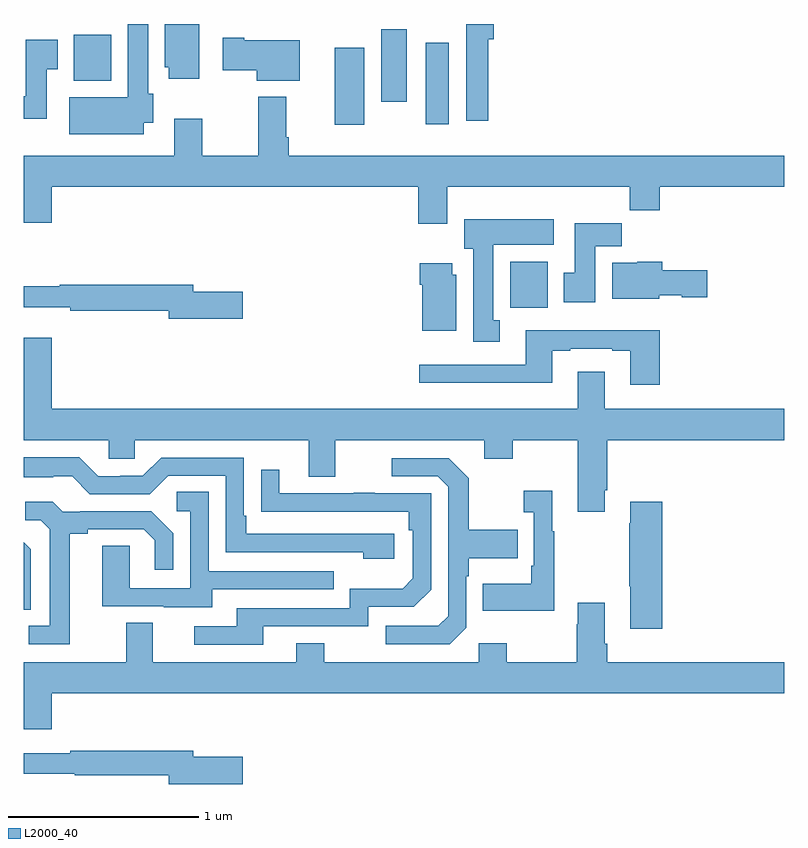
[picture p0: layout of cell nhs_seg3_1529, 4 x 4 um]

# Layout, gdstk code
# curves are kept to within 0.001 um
import gdstk
lib = gdstk.Library(unit=1e-6, precision=1e-09)
def R(c, l, rs):  # rectangles x0, y0, x1, y1
    for r in rs: c.add(gdstk.rectangle(r[:2], r[2:], *l))
def P(c, l, *ps):  # polygons
    for p in ps: c.add(gdstk.Polygon(p, *l))
L2000_40 = (2000, 40)

nhs_seg3_1529 = lib.new_cell('nhs_seg3_1529')
R(nhs_seg3_1529, L2000_40, [(191.558,738.908,191.755,739.15), (190.637,739.869,190.792,740.275), (191.114,739.872,191.236,740.302), (190.88,739.992,191.014,740.372), (189.263,740.102,189.46,740.344), (192.65,740.399,193,740.4)])
P(nhs_seg3_1529, L2000_40, [(189.631,739.88),(189.682,739.88),(189.682,740.034),(189.655,740.034),(189.655,740.4),(189.548,740.4),(189.548,740.014),(189.239,740.014),(189.239,739.82),(189.631,739.82)],
  [(189.922,740.4),(189.743,740.4),(189.743,740.172),(189.764,740.172),(189.764,740.112),(189.922,740.112)],
  [(191.444,740.321),(191.471,740.321),(191.471,740.4),(191.328,740.4),(191.328,739.89),(191.444,739.89)],
  [(190.453,740.314),(190.159,740.314),(190.159,740.327),(190.047,740.327),(190.047,740.156),(190.226,740.156),(190.226,740.102),(190.453,740.102)],
  [(189.121,740.161),(189.178,740.161),(189.178,740.317),(189.011,740.317),(189.011,740.02),(189,740.02),(189,739.902),(189.121,739.902)],
  [(191.227,739.544),(192.187,739.544),(192.187,739.42),(192.344,739.42),(192.344,739.544),(193,739.544),(193,739.708),(190.394,739.708),(190.394,739.804),(190.381,739.804),(190.381,740.017),(190.234,740.017),(190.234,739.708),(189.939,739.708),(189.939,739.903),(189.791,739.903),(189.791,739.708),(189,739.708),(189,739.356),(189.148,739.356),(189.148,739.544),(191.075,739.544),(191.075,739.35),(191.227,739.35)],
  [(191.503,738.842),(191.47,738.842),(191.47,739.238),(191.788,739.238),(191.788,739.372),(191.318,739.372),(191.318,739.218),(191.363,739.218),(191.363,738.729),(191.503,738.729)],
  [(192.007,739.232),(192.146,739.232),(192.146,739.351),(191.897,739.351),(191.897,739.092),(191.84,739.092),(191.84,738.936),(192.007,738.936)],
  [(192.342,738.974),(192.462,738.974),(192.462,738.962),(192.595,738.962),(192.595,739.104),(192.359,739.104),(192.359,739.15),(192.228,739.15),(192.228,739.144),(192.095,739.144),(192.095,738.956),(192.342,738.956)],
  [(191.275,739.08),(191.254,739.08),(191.254,739.141),(191.084,739.141),(191.084,739.028),(191.096,739.028),(191.096,738.788),(191.275,738.788)],
  [(190.153,738.992),(189.892,738.992),(189.892,739.028),(189.19,739.028),(189.19,739.021),(189,739.021),(189,738.911),(189.244,738.911),(189.244,738.892),(189.764,738.892),(189.764,738.85),(190.153,738.85)],
  [(192.344,738.79),(191.639,738.79),(191.639,738.609),(191.079,738.609),(191.079,738.512),(191.779,738.512),(191.779,738.681),(191.875,738.681),(191.875,738.693),(192.095,738.693),(192.095,738.681),(192.191,738.681),(192.191,738.504),(192.344,738.504)],
  [(192.055,737.947),(192.068,737.947),(192.068,738.212),(193,738.212),(193,738.376),(192.055,738.376),(192.055,738.571),(191.915,738.571),(191.915,738.376),(189.148,738.376),(189.148,738.751),(189,738.751),(189,738.212),(189.447,738.212),(189.447,738.114),(189.585,738.114),(189.585,738.212),(190.499,738.212),(190.499,738.018),(190.639,738.018),(190.639,738.212),(191.423,738.212),(191.423,738.113),(191.571,738.113),(191.571,738.212),(191.915,738.212),(191.915,737.835),(192.055,737.835)],
  [(190.948,737.718),(190.171,737.718),(190.171,737.815),(190.158,737.815),(190.158,738.12),(189.723,738.12),(189.627,738.024),(189.509,738.024),(189.509,738.021),(189.393,738.021),(189.293,738.121),(189,738.121),(189,738.017),(189.155,738.017),(189.155,738.021),(189.255,738.021),(189.348,737.928),(189.663,737.928),(189.759,738.024),(190.062,738.024),(190.062,737.622),(190.787,737.622),(190.787,737.588),(190.948,737.588)],
  [(191.328,737.226),(191.328,737.495),(191.341,737.495),(191.341,737.591),(191.597,737.591),(191.597,737.739),(191.341,737.739),(191.341,738.011),(191.235,738.117),(190.935,738.117),(190.935,738.021),(191.178,738.021),(191.232,737.967),(191.232,737.286),(191.181,737.235),(190.905,737.235),(190.905,737.139),(191.241,737.139)],
  [(190.261,737.232),(190.812,737.232),(190.812,737.334),(191.052,737.334),(191.142,737.424),(191.142,737.931),(190.847,737.931),(190.847,737.936),(190.735,737.936),(190.735,737.931),(190.345,737.931),(190.345,738.055),(190.249,738.055),(190.249,737.836),(191.026,737.835),(191.026,737.738),(191.046,737.738),(191.046,737.484),(190.993,737.431),(190.716,737.431),(190.716,737.328),(190.121,737.328),(190.121,737.232),(189.897,737.232),(189.897,737.136),(190.261,737.136)],
  [(191.791,737.731),(191.779,737.731),(191.779,737.944),(191.631,737.944),(191.631,737.831),(191.682,737.831),(191.682,737.551),(191.67,737.551),(191.67,737.455),(191.413,737.455),(191.413,737.315),(191.791,737.315)],
  [(189.991,737.427),(190.631,737.427),(190.631,737.523),(189.972,737.523),(189.972,737.939),(189.804,737.939),(189.804,737.838),(189.876,737.838),(189.876,737.433),(189.558,737.433),(189.558,737.657),(189.413,737.657),(189.413,737.337),(189.737,737.337),(189.737,737.333),(189.991,737.333)],
  [(192.359,737.887),(192.191,737.887),(192.191,737.774),(192.184,737.774),(192.184,737.443),(192.191,737.443),(192.191,737.22),(192.359,737.22)],
  [(189.241,737.72),(189.337,737.72),(189.337,737.742),(189.632,737.742),(189.689,737.685),(189.689,737.529),(189.786,737.529),(189.786,737.722),(189.67,737.838),(189.298,737.838),(189.298,737.835),(189.204,737.835),(189.152,737.887),(189.009,737.887),(189.009,737.79),(189.09,737.79),(189.137,737.743),(189.137,737.235),(189.027,737.235),(189.027,737.139),(189.241,737.139)],
  [(189.036,737.638),(189,737.674),(189,737.32),(189.036,737.32)],
  [(189.148,736.88),(193,736.88),(193,737.044),(192.068,737.044),(192.068,737.14),(192.055,737.14),(192.055,737.356),(191.915,737.356),(191.915,737.243),(191.908,737.243),(191.908,737.044),(191.541,737.044),(191.541,737.143),(191.394,737.143),(191.394,737.044),(190.581,737.044),(190.581,737.143),(190.433,737.143),(190.433,737.044),(189.679,737.044),(189.679,737.252),(189.539,737.252),(189.539,737.044),(189,737.044),(189,736.692),(189.148,736.692)],
  [(190.153,736.545),(189.892,736.545),(189.892,736.579),(189.244,736.579),(189.244,736.566),(189,736.566),(189,736.458),(189.268,736.458),(189.268,736.45),(189.764,736.45),(189.764,736.403),(190.153,736.403)])

lib.write_gds('nhs_seg3_1529.gds')
